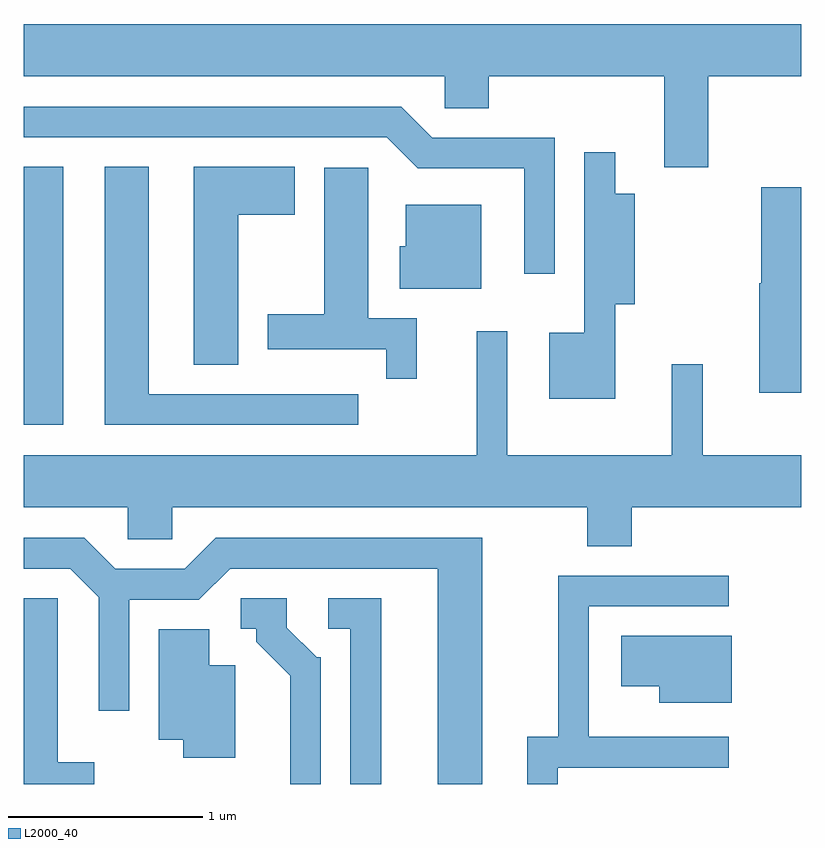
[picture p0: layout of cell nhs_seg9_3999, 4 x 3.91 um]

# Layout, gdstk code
import gdstk
lib = gdstk.Library(unit=1e-6, precision=1e-09)
def R(c, l, rs):  # rectangles x0, y0, x1, y1
    for r in rs: c.add(gdstk.rectangle(r[:2], r[2:], *l))
def P(c, l, *ps):  # polygons
    for p in ps: c.add(gdstk.Polygon(p, *l))
L2000_40 = (2000, 40)

nhs_seg9_3999 = lib.new_cell('nhs_seg9_3999')
R(nhs_seg9_3999, L2000_40, [(303.611,1952.281,303.814,1953.609)])
P(nhs_seg9_3999, L2000_40, [(307.134,1954.076),(307.611,1954.076),(307.611,1954.344),(303.611,1954.344),(303.611,1954.076),(305.776,1954.076),(305.776,1953.911),(306.004,1953.911),(306.004,1954.076),(306.906,1954.076),(306.906,1953.606),(307.134,1953.606)],
  [(306.344,1953.759),(305.712,1953.759),(305.552,1953.919),(303.611,1953.919),(303.611,1953.761),(305.479,1953.761),(305.639,1953.601),(306.186,1953.601),(306.186,1953.058),(306.344,1953.058)],
  [(306.654,1952.901),(306.754,1952.901),(306.754,1953.469),(306.654,1953.469),(306.654,1953.683),(306.496,1953.683),(306.496,1952.754),(306.316,1952.754),(306.316,1952.416),(306.654,1952.416)],
  [(304.714,1953.361),(305.004,1953.361),(305.004,1953.609),(304.486,1953.609),(304.486,1952.591),(304.714,1952.591)],
  [(305.333,1952.439),(304.254,1952.439),(304.254,1953.609),(304.026,1953.609),(304.026,1952.281),(305.333,1952.281)],
  [(305.634,1952.829),(305.384,1952.829),(305.384,1953.604),(305.156,1953.604),(305.156,1952.849),(304.866,1952.849),(304.866,1952.671),(305.476,1952.671),(305.476,1952.518),(305.634,1952.518)],
  [(307.611,1953.504),(307.406,1953.504),(307.406,1953.01),(307.396,1953.01),(307.396,1952.446),(307.611,1952.446)],
  [(305.964,1953.414),(305.576,1953.414),(305.576,1953.199),(305.546,1953.199),(305.546,1952.981),(305.964,1952.981)],
  [(306.739,1951.856),(307.611,1951.856),(307.611,1952.124),(307.104,1952.124),(307.104,1952.593),(306.946,1952.593),(306.946,1952.124),(306.099,1952.124),(306.099,1952.763),(305.941,1952.763),(305.941,1952.124),(303.611,1952.124),(303.611,1951.856),(304.146,1951.856),(304.146,1951.691),(304.374,1951.691),(304.374,1951.856),(306.511,1951.856),(306.511,1951.656),(306.739,1951.656)],
  [(305.969,1951.699),(304.599,1951.699),(304.439,1951.539),(304.082,1951.539),(303.922,1951.699),(303.611,1951.699),(303.611,1951.541),(303.849,1951.541),(303.996,1951.394),(303.996,1950.808),(304.154,1950.808),(304.154,1951.381),(304.512,1951.381),(304.672,1951.541),(305.741,1951.541),(305.741,1950.432),(305.969,1950.432)],
  [(306.359,1950.516),(307.238,1950.516),(307.238,1950.674),(306.519,1950.674),(306.519,1951.346),(307.238,1951.346),(307.238,1951.504),(306.361,1951.504),(306.361,1950.674),(306.201,1950.674),(306.201,1950.432),(306.359,1950.432)],
  [(305.449,1951.389),(305.178,1951.389),(305.178,1951.231),(305.291,1951.231),(305.291,1950.432),(305.449,1950.432)],
  [(305.139,1951.084),(305.117,1951.084),(304.964,1951.237),(304.964,1951.389),(304.728,1951.389),(304.728,1951.231),(304.806,1951.231),(304.806,1951.164),(304.981,1950.989),(304.981,1950.432),(305.139,1950.432)],
  [(303.973,1950.544),(303.784,1950.544),(303.784,1951.389),(303.611,1951.389),(303.611,1950.432),(303.973,1950.432)],
  [(304.699,1951.044),(304.564,1951.044),(304.564,1951.229),(304.306,1951.229),(304.306,1950.661),(304.431,1950.661),(304.431,1950.566),(304.699,1950.566)],
  [(307.254,1951.194),(306.686,1951.194),(306.686,1950.936),(306.881,1950.936),(306.881,1950.851),(307.254,1950.851)])

lib.write_gds('nhs_seg9_3999.gds')
